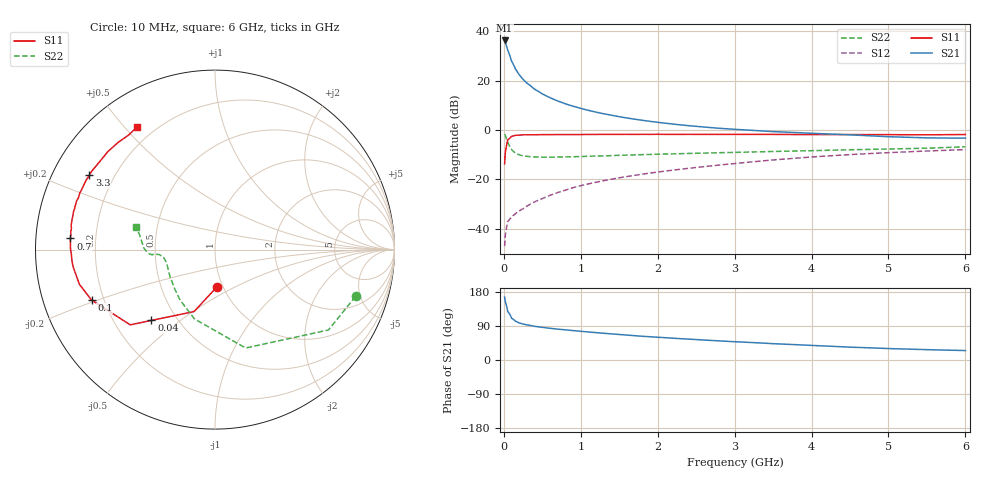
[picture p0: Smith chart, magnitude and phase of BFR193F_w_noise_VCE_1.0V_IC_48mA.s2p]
! Infineon Technologies  Discrete & RF Semiconductors
! BFR193F
! VCE =  1.0 V,  IC =  48 mA
! Common Emitter S-Parameters:  Jan 2017
# GHz  S  MA  R  50
!  f  S11  S21  S12  S22
! GHz  MAG  ANG  MAG  ANG  MAG  ANG  MAG  ANG
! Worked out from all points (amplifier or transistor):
!   77 points, 10 MHz to 6 GHz, reference 50 ohm
!   highest |S21| = 36.3 dB at 10 MHz (marker M1)
!   |S21| within 3 dB of that: start of sweep to 41.42 MHz
!   unconditionally stable (mu >= 1): 497.7 MHz to 3.144 GHz
!   at 130 MHz: K = 0.58, MSG = 30.4 dB, |S12| = -34.5 dB
!   at 2.2 GHz: K = 1.07, MAG = 7.8 dB, |S12| = -16.3 dB
!   at 6 GHz: K = 0.95, MSG = 2.3 dB, |S12| = -8.0 dB
!   lowest NFmin = 1.45 dB at 450 MHz
!   S11 on the Smith chart (normalised r, x): 10 MHz: 0.94, -0.40; 40 MHz: 0.36, -0.40; 100 MHz: 0.15, -0.19; 700 MHz: 0.11, +0.04; 3.3 GHz: 0.11, +0.27; 6 GHz: 0.14, +0.54
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0.01  0.2062 -86.6  65.49 166.1  0.0044 78.1  0.8255 -18.4
0.02  0.3641 -108.6  60.45 153.0  0.0074 69.0  0.7746 -35.3
0.04  0.5298 -131.9  47.11 138.5  0.0116 55.3  0.6084 -57.8
0.05  0.6316 -138.4  42.1 128.1  0.0138 51.6  0.5741 -72.7
0.1  0.743 -157.8  25.08 110.2  0.0171 44.8  0.4032 -106.4
0.15  0.7798 -165.6  17.43 102.6  0.02 47.0  0.3418 -124.8
0.2  0.7876 -169.9  13.24 97.9  0.0229 49.5  0.3136 -135.7
0.25  0.7962 -173.1  10.66 94.9  0.0253 53.3  0.2979 -144.0
0.3  0.7991 -175.2  8.932 92.6  0.0286 57.5  0.2922 -149.2
0.4  0.801 -178.4  6.715 88.8  0.0348 61.1  0.2833 -156.7
0.5  0.8054 179.4  5.4 86.2  0.0407 65.2  0.2805 -161.3
0.6  0.8061 177.6  4.519 83.7  0.0473 66.9  0.2807 -164.7
0.7  0.8081 175.6  3.884 81.4  0.0538 68.5  0.2826 -166.7
0.9  0.8097 172.8  3.035 77.6  0.0677 70.7  0.2872 -170.1
1.1  0.813 170.4  2.5 73.9  0.0807 71.2  0.2936 -171.8
1.5  0.8152 165.9  1.863 67.3  0.1071 71.8  0.307 -174.2
2.1  0.8157 160.0  1.374 58.8  0.1468 71.3  0.3254 -175.4
3.1  0.8149 151.2  1.011 47.3  0.2161 68.5  0.3542 -175.5
3.3  0.8139 149.3  0.969 45.3  0.2313 67.5  0.3605 -175.8
4.1  0.8077 141.6  0.845 37.6  0.29 62.9  0.3838 -178.9
5.1  0.8034 131.1  0.723 29.6  0.3526 56.0  0.4145 172.5
6  0.8098 122.4  0.683 24.9  0.4004 50.0  0.4569 164.1
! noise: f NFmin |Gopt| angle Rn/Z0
0.45  1.45  0.46  -180  0.07
0.9  1.54  0.47  -179  0.07
1.9  2.11  0.6  -164  0.09
2.4  2.42  0.62  -156  0.14
